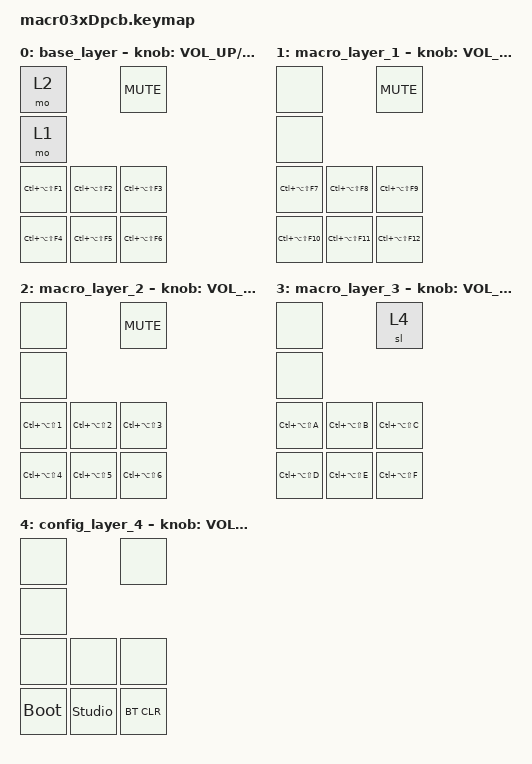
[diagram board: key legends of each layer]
#include <behaviors.dtsi>
#include <dt-bindings/zmk/keys.h>
#include <dt-bindings/zmk/bt.h>
#include <dt-bindings/zmk/mouse.h>

&sl {
    release-after-ms = <60000>;
};

/ {    
    combos {
        compatible = "zmk,combos";
        
        combo_activate_layer_3 {
            timeout-ms = <50>;
            key-positions = <0 2>;
            bindings = <&mo 3>;
        };
    };
    
    keymap {
        compatible = "zmk,keymap";
            
        base_layer {
            display-name = "base_layer";
            sensor-bindings = <&inc_dec_kp C_VOL_UP C_VOL_DN>;
            bindings = <
                &mo 2                                    &kp C_MUTE           
                &mo 1                                 
                &kp LC(LA(LS(F1)))  &kp LC(LA(LS(F2)))   &kp LC(LA(LS(F3))) 
                &kp LC(LA(LS(F4)))  &kp LC(LA(LS(F5)))   &kp LC(LA(LS(F6))) 
            >;
        }; 
        
        macro_layer_1 {
            display-name = "macro_layer_1";
            sensor-bindings = <&inc_dec_kp C_VOL_UP C_VOL_DN>;
            bindings = <
                &none                                     &kp C_MUTE       
                &none                                   
                &kp LC(LA(LS(F7)))   &kp LC(LA(LS(F8)))   &kp LC(LA(LS(F9))) 
                &kp LC(LA(LS(F10)))  &kp LC(LA(LS(F11)))  &kp LC(LA(LS(F12))) 
            >;
        }; 
        
        macro_layer_2 {
            display-name = "macro_layer_2";
            sensor-bindings = <&inc_dec_kp C_VOL_UP C_VOL_DN>;
            bindings = <
                &none                                     &kp C_MUTE            
                &none                                    
                &kp LC(LA(LS(N1)))   &kp LC(LA(LS(N2)))   &kp LC(LA(LS(N3))) 
                &kp LC(LA(LS(N4)))   &kp LC(LA(LS(N5)))   &kp LC(LA(LS(N6))) 
            >;
        }; 
        
        macro_layer_3 {
            display-name = "macro_layer_3";
            sensor-bindings = <&inc_dec_kp C_VOL_UP C_VOL_DN>;
            bindings = <
                &none                                     &sl 4            
                &none                                    
                &kp LC(LA(LS(A)))    &kp LC(LA(LS(B)))    &kp LC(LA(LS(C))) 
                &kp LC(LA(LS(D)))    &kp LC(LA(LS(E)))    &kp LC(LA(LS(F))) 
            >;
        }; 
        
        config_layer_4 {
            display-name = "config_layer_4";
            sensor-bindings = <&inc_dec_kp C_VOL_UP C_VOL_DN>;
            bindings = <
                &none                              &none              
                &none                                  
                &none          &none               &none 
                &bootloader    &studio_unlock      &bt BT_CLR
            >;
        }; 
        
        extra_layer_5 {
            status = "reserved";
        };
        
        extra_layer_6 {
            status = "reserved";
        };

    };
};
